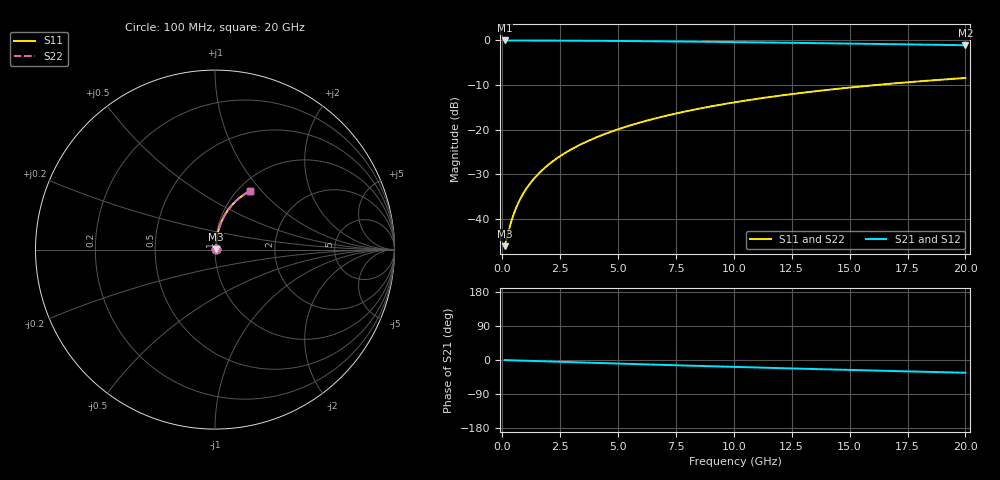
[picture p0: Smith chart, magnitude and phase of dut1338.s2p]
! Touchstone file exported from HFSS 2024.1.0
!  File:  C:/UserFiles/LocalFiles/RDL_TSV_Batchsim/temp_RDL_bottom_1338_1780369674.aedt
!  Generated:  11:10:39 AM Jun  2, 2026
!  Design:  RDL_bottom
!  Project:  temp_RDL_bottom_1338_1780369674
!  Setup:  Setup1
!  Solution:  Sweep
! Variables:
!  dtsv = 10.80580581um
!  hbump = 3um
!  htsv = 57.42um
!  ldown = 433.35um
!  lrdl = 100um
!  p = 40
!  p1 = 42.98um
!  rhole = 1um
!  t = 450um
!  tdown = 2.5um
!  trdl = 3.915915916um
!  wdown = 14.12um
!  wrdl = 20um
# GHz S MA R 50.000000
! Terminal data exported
! Port[1] = RDL1_T1
! Port[2] = RDL1_T2
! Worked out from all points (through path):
!   200 points, 100 MHz to 20 GHz, reference 50 ohm
!   highest |S21| = -0.04 dB at 100 MHz (marker M1); lowest = -1.1 dB at 20 GHz (marker M2)
!   group delay of S21, straight-line fit = 4.67 ps
!   lowest |S11| = -46.0 dB at 100 MHz (marker M3), VSWR 1.01, Z = 50.5 + j0.215 ohm
!   |S11| at or under -10 dB: start of sweep to 16.15 GHz
!   |S22| runs from -46.0 to -8.4 dB; largest |S21 - S12| = 3.5e-15
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0.1  0.004995 25.2  0.9955 -0.2  0.9955 -0.2  0.004995 25.2
! Gamma 0 0 0 0
! Port Impedance 50 0 50 0
0.3  0.007878 53.6  0.9953 -0.6  0.9953 -0.6  0.007878 53.6
0.4  0.009682 60.3  0.9952 -0.8  0.9952 -0.8  0.009682 60.3
0.5  0.01156 64.8  0.9951 -1.0  0.9951 -1.0  0.01156 64.8
0.6  0.01347 67.9  0.9949 -1.2  0.9949 -1.2  0.01347 67.9
0.7  0.0154 70.3  0.9948 -1.4  0.9948 -1.4  0.0154 70.3
0.9  0.01927 73.5  0.9945 -1.8  0.9945 -1.8  0.01927 73.5
1.2  0.02511 76.4  0.994 -2.3  0.994 -2.3  0.02511 76.4
1.4  0.02902 77.6  0.9937 -2.7  0.9937 -2.7  0.02902 77.6
1.7  0.03492 78.9  0.9931 -3.3  0.9931 -3.3  0.03492 79.0
2.2  0.04481 80.2  0.9921 -4.2  0.9921 -4.2  0.04481 80.2
2.8  0.05677 80.9  0.9906 -5.3  0.9906 -5.3  0.05677 80.9
3.5  0.07082 81.0  0.9885 -6.6  0.9885 -6.6  0.07082 81.0
4.2  0.08495 80.8  0.986 -7.9  0.986 -7.9  0.08495 80.8
5  0.1012 80.2  0.9828 -9.4  0.9828 -9.4  0.1012 80.3
5.9  0.1194 79.4  0.9786 -11.0  0.9786 -11.0  0.1194 79.4
6.8  0.1377 78.4  0.974 -12.7  0.974 -12.7  0.1377 78.4
8.4  0.1701 76.4  0.9649 -15.5  0.9649 -15.5  0.1701 76.4
10.1  0.2039 73.9  0.9541 -18.3  0.9541 -18.3  0.2039 74.0
13.4  0.2671 69.0  0.9311 -23.7  0.9311 -23.7  0.2671 69.0
16.7  0.3257 64.1  0.9061 -28.8  0.9061 -28.8  0.3257 64.1
20  0.379 59.3  0.8802 -33.6  0.8802 -33.6  0.3791 59.3
